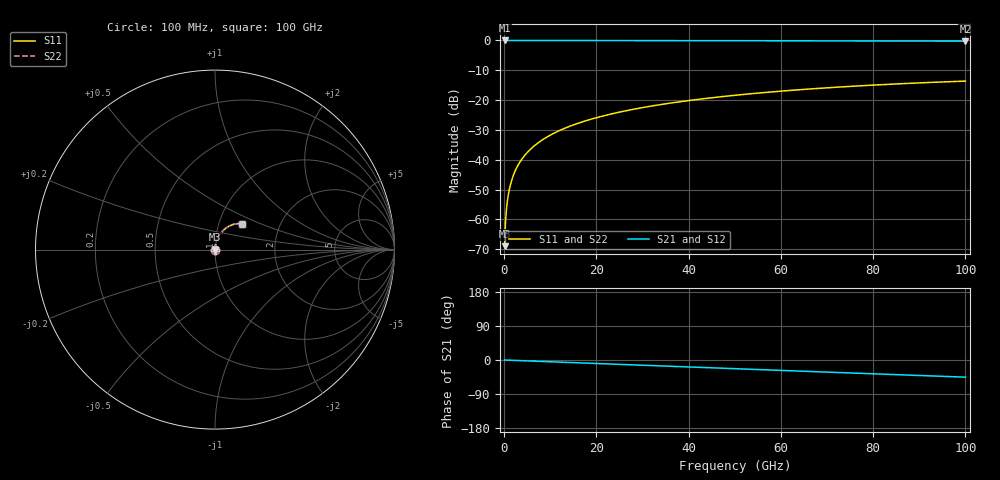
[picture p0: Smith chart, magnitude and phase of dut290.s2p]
! Touchstone file exported from HFSS 2026.1.0
!  File:  C:/ffzhzh/LocalFiles/Ansys_Project_Files/temp_train_TSV_290_1783508972_31944.aedt
!  Generated:  07:10:57 PM Jul  8, 2026
!  Design:  TSV
!  Project:  temp_train_TSV_290_1783508972_31944
! Variables:
!  h_bsmrdl = 2um
!  h_ox = 20um
!  h_rdl = 5um
!  h_sub = 86.33um
!  h_tmrdl = 5um
!  h_tsv = 86.33um
!  h_via = 3um
!  l_bsmrdl = 300um
!  l_sub = 415.92um
!  l_tmrdl = 200um
!  m_sub = 200um
!  pitch = 49.23um
!  r_tsv = 7.96um
!  s_tmrdl = 10um
!  w_bsmrdl = 18um
!  w_sub = 500um
!  w_tmrdl = 12um
!  x_tsv_center1 = 206um
!  x_tsv_center2 = 524um
!  x_tsv_center3 = 736um
!  x_tsv_center4 = 1054um
!  x_tsv_center5 = 1266um
!  x_tsv_center6 = 1584um
# GHz S MA R 50.000000
! Terminal data exported
! Port[1] = TSV1_1_T1
! Port[2] = TSV1_1_T2
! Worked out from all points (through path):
!   1000 points, 100 MHz to 100 GHz, reference 50 ohm
!   highest |S21| = 0.00 dB at 100 MHz (marker M1); lowest = -0.2 dB at 100 GHz (marker M2)
!   group delay of S21, straight-line fit = 1.26 ps
!   lowest |S11| = -69.0 dB at 100 MHz (marker M3), VSWR 1.00, Z = 50 + j0.0299 ohm
!   |S11| at or under -10 dB: start of sweep to end of sweep
!   |S22| runs from -69.0 to -13.6 dB; largest |S21 - S12| = 5.3e-15
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0.1  0.0003546 57.5  0.9998 -0.0  0.9998 -0.0  0.0003546 57.5
! Gamma 0 0 0 0
! Port Impedance 50 0 50 0
0.3  0.0009116 75.9  0.9998 -0.1  0.9998 -0.1  0.0009116 75.9
0.7  0.002018 81.2  0.9997 -0.3  0.9997 -0.3  0.002018 81.2
0.8  0.002288 81.7  0.9997 -0.4  0.9997 -0.4  0.002288 81.7
1  0.002826 82.5  0.9996 -0.5  0.9996 -0.5  0.002826 82.5
1.3  0.003626 83.2  0.9996 -0.6  0.9996 -0.6  0.003626 83.2
1.7  0.004685 83.7  0.9995 -0.8  0.9995 -0.8  0.004685 83.7
2.3  0.006255 84.1  0.9995 -1.1  0.9995 -1.1  0.006255 84.1
3  0.008065 84.3  0.9994 -1.4  0.9994 -1.4  0.008065 84.3
3.8  0.01012 84.3  0.9993 -1.8  0.9993 -1.8  0.01012 84.3
4.8  0.01267 84.3  0.9991 -2.2  0.9991 -2.2  0.01267 84.3
6  0.01572 84.1  0.999 -2.8  0.999 -2.8  0.01572 84.1
8.8  0.0228 83.3  0.9987 -4.1  0.9987 -4.1  0.0228 83.3
12.4  0.03183 82.0  0.9982 -5.8  0.9982 -5.8  0.03183 82.0
16.8  0.04276 80.3  0.9976 -7.8  0.9976 -7.8  0.04276 80.3
24.2  0.06088 77.2  0.9964 -11.2  0.9964 -11.2  0.06088 77.2
33.4  0.08284 73.2  0.9945 -15.4  0.9945 -15.4  0.08284 73.2
41.2  0.1008 69.8  0.9927 -19.0  0.9927 -19.0  0.1008 69.8
50.1  0.1205 65.9  0.9902 -23.0  0.9902 -23.0  0.1205 65.9
66.7  0.1544 58.5  0.9852 -30.5  0.9852 -30.5  0.1544 58.5
83.4  0.184 51.2  0.9798 -37.9  0.9798 -37.9  0.184 51.2
100  0.2081 43.9  0.9747 -45.3  0.9747 -45.3  0.2081 43.9
